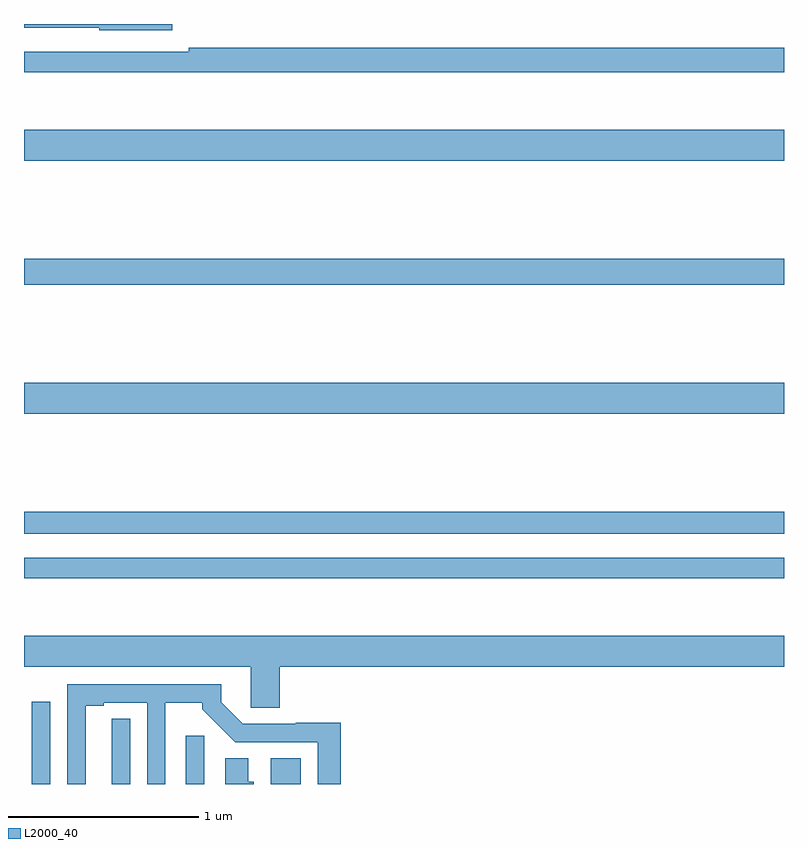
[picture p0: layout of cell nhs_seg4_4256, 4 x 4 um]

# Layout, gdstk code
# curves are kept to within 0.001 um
import gdstk
lib = gdstk.Library(unit=1e-6, precision=1e-09)
def R(c, l, rs):  # rectangles x0, y0, x1, y1
    for r in rs: c.add(gdstk.rectangle(r[:2], r[2:], *l))
def P(c, l, *ps):  # polygons
    for p in ps: c.add(gdstk.Polygon(p, *l))
L2000_40 = (2000, 40)

nhs_seg4_4256 = lib.new_cell('nhs_seg4_4256')
R(nhs_seg4_4256, L2000_40, [(339.042,766.9,339.138,767.332), (339.852,766.9,339.948,767.155), (340.298,766.9,340.456,767.036), (339,767.982,343,768.09), (339,768.216,343,768.332), (339,768.848,343,769.012), (339,769.528,343,769.664), (339,770.18,343,770.344)])
P(nhs_seg4_4256, L2000_40, [(339.781,770.9),(339,770.9),(339,770.88),(339.396,770.88),(339.396,770.867),(339.781,770.867)],
  [(343,770.774),(339.868,770.774),(339.868,770.754),(339,770.754),(339,770.646),(343,770.646)],
  [(340.346,767.516),(343,767.516),(343,767.68),(339,767.68),(339,767.516),(340.194,767.516),(340.194,767.302),(340.346,767.302)],
  [(339.325,767.313),(339.421,767.313),(339.421,767.328),(339.648,767.328),(339.648,766.9),(339.744,766.9),(339.744,767.327),(339.938,767.327),(339.938,767.293),(340.112,767.121),(340.545,767.121),(340.545,766.9),(340.666,766.9),(340.666,767.222),(340.429,767.222),(340.429,767.217),(340.152,767.217),(340.039,767.331),(340.039,767.424),(339.228,767.424),(339.228,766.9),(339.325,766.9)],
  [(339.558,767.243),(339.462,767.243),(339.462,767.135),(339.461,767.135),(339.461,766.9),(339.558,766.9)],
  [(340.21,766.912),(340.18,766.912),(340.18,767.036),(340.058,767.036),(340.058,766.9),(340.21,766.9)])

lib.write_gds('nhs_seg4_4256.gds')
